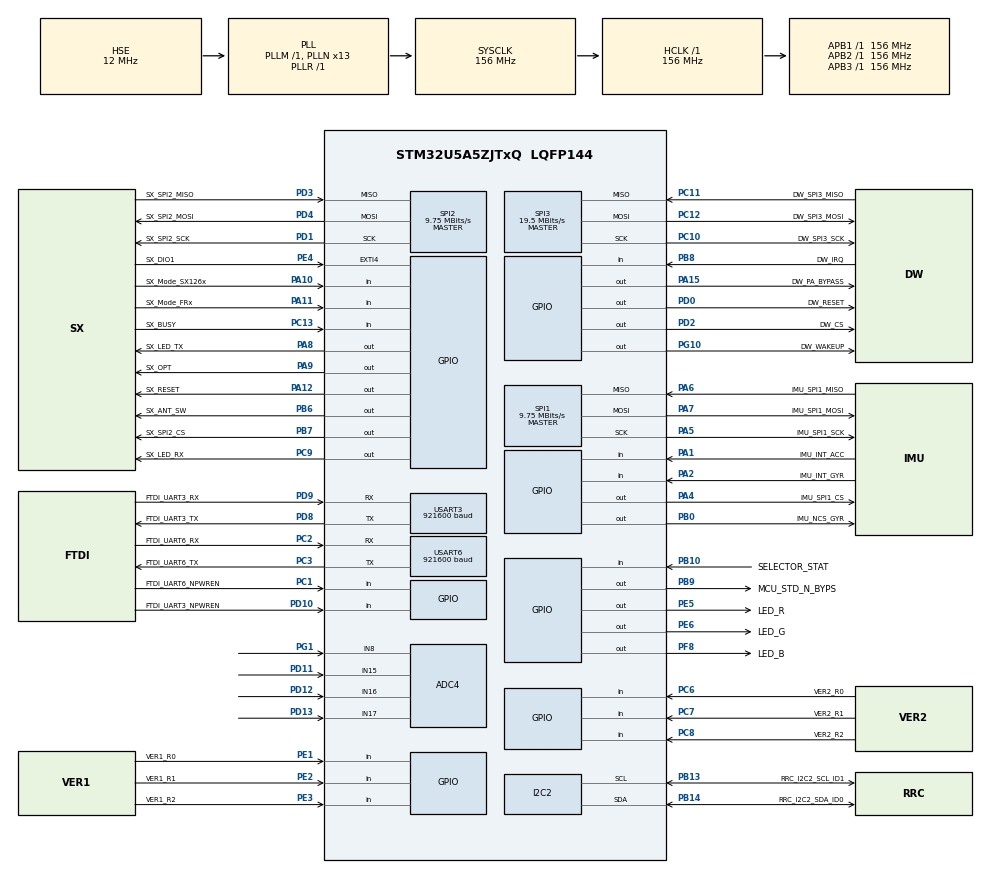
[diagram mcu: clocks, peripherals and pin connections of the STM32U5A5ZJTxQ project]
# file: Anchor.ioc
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ADC4.NbrOfConversion=1
ADC4.NbrOfConversionFlag=0
ADC4.SelectedChannel=ADC_CHANNEL_8|ADC_CHANNEL_15|ADC_CHANNEL_16|ADC_CHANNEL_17
ADC4.Sequencer=NOT_FULLY_CONFIGURABLE
CORTEX_M33_NS.AccessPermission-Cortex_Memory_Protection_Unit_Region0_Settings=MPU_REGION_ALL_RO
CORTEX_M33_NS.AllocateAttribute0=MPU_NO_ALLOCATE
CORTEX_M33_NS.AllocateAttribute1=MPU_RW_ALLOCATE
CORTEX_M33_NS.Attributes0=MPU_ATTRIBUTES_NUMBER0
CORTEX_M33_NS.Attributes1=MPU_ATTRIBUTES_NUMBER1
CORTEX_M33_NS.AttributesIndex-Cortex_Memory_Protection_Unit_Region1_Settings=MPU_ATTRIBUTES_NUMBER1
CORTEX_M33_NS.BaseAddress-Cortex_Memory_Protection_Unit_Region0_Settings=0x08200000
CORTEX_M33_NS.BaseAddress-Cortex_Memory_Protection_Unit_Region1_Settings=0x20000000
CORTEX_M33_NS.CacheableAttribute1=MPU_WRITE_BACK
CORTEX_M33_NS.Enable-Cortex_Memory_Protection_Unit_Region0_Settings=MPU_REGION_ENABLE
CORTEX_M33_NS.Enable-Cortex_Memory_Protection_Unit_Region1_Settings=MPU_REGION_ENABLE
CORTEX_M33_NS.LimitAddress-Cortex_Memory_Protection_Unit_Region0_Settings=0x083FDFFF
CORTEX_M33_NS.LimitAddress-Cortex_Memory_Protection_Unit_Region1_Settings=0x2026FFFF
CORTEX_M33_NS.MPU_Control=MPU_PRIVILEGED_DEFAULT
CORTEX_M33_NS.Memorytype1=MPU_CACHEABLE
CORTEX_M33_NS.Number-Cortex_Memory_Protection_Unit_Region1_Settings=MPU_REGION_NUMBER1
CORTEX_M33_NS.TransientAttribute0=MPU_NON_TRANSIENT
CORTEX_M33_NS.userName=CORTEX_M33
FLASH.B1_Bank=FLASH_BANK_2
FLASH.B1_endPage=254
FLASH.OB_Boot_Configuration_active_NS0=true
FLASH.OB_NSBOOTADD0_Address=0x08200000
GPDMA1.DESTINC_GPDMACH0=DMA_DINC_INCREMENTED
GPDMA1.DESTINC_GPDMACH1=DMA_DINC_FIXED
GPDMA1.DESTINC_GPDMACH2=DMA_DINC_INCREMENTED
GPDMA1.DIRECTION_GPDMACH1=DMA_MEMORY_TO_PERIPH
GPDMA1.DIRECTION_GPDMACH3=DMA_MEMORY_TO_PERIPH
GPDMA1.IPHANDLE_GPDMACH0-SIMPLEREQUEST_GPDMACH0=__NULL
GPDMA1.IPHANDLE_GPDMACH1-SIMPLEREQUEST_GPDMACH1=__NULL
GPDMA1.IPHANDLE_GPDMACH2-SIMPLEREQUEST_GPDMACH2=__NULL
GPDMA1.IPHANDLE_GPDMACH3-SIMPLEREQUEST_GPDMACH3=__NULL
GPDMA1.PRIORITY_GPDMACH0=DMA_LOW_PRIORITY_HIGH_WEIGHT
GPDMA1.PRIORITY_GPDMACH1=DMA_LOW_PRIORITY_HIGH_WEIGHT
GPDMA1.PRIORITY_GPDMACH2=DMA_LOW_PRIORITY_HIGH_WEIGHT
GPDMA1.PRIORITY_GPDMACH3=DMA_LOW_PRIORITY_HIGH_WEIGHT
GPDMA1.REQUEST_GPDMACH0=GPDMA1_REQUEST_USART6_RX
GPDMA1.REQUEST_GPDMACH1=GPDMA1_REQUEST_USART6_TX
GPDMA1.REQUEST_GPDMACH2=GPDMA1_REQUEST_USART3_RX
GPDMA1.REQUEST_GPDMACH3=GPDMA1_REQUEST_USART3_TX
GPDMA1.SRCINC_GPDMACH1=DMA_SINC_INCREMENTED
GPDMA1.SRCINC_GPDMACH3=DMA_SINC_INCREMENTED
GPDMA1.SRCINC_GPDMACH4=DMA_SINC_INCREMENTED
GTZC.MPCBB1_Area_Privilege_Size=0x000C0000
GTZC.MPCBB1_SecConfig_array=00000000\:00000000\:00000000\:00000000\:00000000\:00000000\:00000000\:00000000\:00000000\:00000000\:00000000\:00000000\:00000000\:00000000\:00000000\:00000000\:00000000\:00000000\:00000000\:00000000\:00000000\:00000000\:00000000\:00000000\:00000000\:00000000\:00000000\:00000000\:00000000\:00000000\:00000000\:00000000\:00000000\:00000000\:00000000\:00000000\:00000000\:00000000\:00000000\:00000000\:00000000\:00000000\:00000000\:00000000\:00000000\:00000000\:00000000\:00000000
GTZC.MPCBB2_Area_Privilege_Size=0x00010000
GTZC.MPCBB2_PrivConfig_array=FFFFFFFF\:FFFFFFFF\:FFFFFFFF\:FFFFFFFF\:00000000\:00000000\:00000000\:00000000\:00000000\:00000000\:00000000\:00000000\:00000000\:00000000\:00000000\:00000000\:00000000\:00000000\:00000000\:00000000\:00000000\:00000000\:00000000\:00000000\:00000000\:00000000\:00000000\:00000000\:00000000\:00000000\:00000000\:00000000\:00000000\:00000000\:00000000\:00000000\:00000000\:00000000\:00000000\:00000000\:00000000\:00000000\:00000000\:00000000\:00000000\:00000000\:00000000\:00000000\:00000000\:00000000\:00000000\:00000000
GTZC.MPCBB2_SecConfig_array=00000000\:00000000\:00000000\:00000000\:00000000\:00000000\:00000000\:00000000\:00000000\:00000000\:00000000\:00000000\:00000000\:00000000\:00000000\:00000000\:00000000\:00000000\:00000000\:00000000\:00000000\:00000000\:00000000\:00000000\:00000000\:00000000\:00000000\:00000000\:00000000\:00000000\:00000000\:00000000\:00000000\:00000000\:00000000\:00000000\:00000000\:00000000\:00000000\:00000000\:00000000\:00000000\:00000000\:00000000\:00000000\:00000000\:00000000\:00000000\:00000000\:00000000\:00000000\:00000000
GTZC.MPCBB3_Area_Privilege_Size=0x000D0000
GTZC.MPCBB3_SecConfig_array=00000000\:00000000\:00000000\:00000000\:00000000\:00000000\:00000000\:00000000\:00000000\:00000000\:00000000\:00000000\:00000000\:00000000\:00000000\:00000000\:00000000\:00000000\:00000000\:00000000\:00000000\:00000000\:00000000\:00000000\:00000000\:00000000\:00000000\:00000000\:00000000\:00000000\:00000000\:00000000\:00000000\:00000000\:00000000\:00000000\:00000000\:00000000\:00000000\:00000000\:00000000\:00000000\:00000000\:00000000\:00000000\:00000000\:00000000\:00000000\:00000000\:00000000\:00000000\:00000000
GTZC.MPCBB4_PrivConfig_array=00000000
GTZC.MPCBB4_SecConfig_array=00000000
GTZC.MPCBB5_Area_Privilege_Size=0x000D0000
GTZC.MPCBB5_SecConfig_array=00000000\:00000000\:00000000\:00000000\:00000000\:00000000\:00000000\:00000000\:00000000\:00000000\:00000000\:00000000\:00000000\:00000000\:00000000\:00000000\:00000000\:00000000\:00000000\:00000000\:00000000\:00000000\:00000000\:00000000\:00000000\:00000000\:00000000\:00000000\:00000000\:00000000\:00000000\:00000000\:00000000\:00000000\:00000000\:00000000\:00000000\:00000000\:00000000\:00000000\:00000000\:00000000\:00000000\:00000000\:00000000\:00000000\:00000000\:00000000\:00000000\:00000000\:00000000\:00000000
I2C2.Timing=0x40707EB4
Mcu.Family=STM32U5
Mcu.Name=STM32U5A5ZJTxQ
Mcu.Package=LQFP144
NUCLEO-U5A5ZJ-Q.BUTTON=0
NUCLEO-U5A5ZJ-Q.LD1=false
NUCLEO-U5A5ZJ-Q.LD2=false
NUCLEO-U5A5ZJ-Q.LD3=false
NUCLEO-U5A5ZJ-Q.VCP=false
NVIC.EXTI4_IRQn=true\:1\:0\:false\:true\:true\:1\:true\:true\:true
NVIC.GPDMA1_Channel0_IRQn=true\:5\:0\:true\:true\:true\:5\:false\:true\:true
NVIC.GPDMA1_Channel1_IRQn=true\:0\:0\:false\:false\:true\:false\:true\:true
NVIC.GPDMA1_Channel2_IRQn=true\:0\:0\:false\:false\:true\:false\:true\:true
NVIC.GPDMA1_Channel3_IRQn=true\:0\:0\:false\:false\:true\:false\:true\:true
NVIC.PriorityGroup=NVIC_PRIORITYGROUP_4
NVIC.TIM4_IRQn=true\:0\:0\:false\:true\:true\:2\:true\:true\:true
NVIC.USART3_IRQn=true\:0\:0\:false\:false\:true\:true\:true\:true
NVIC.USART6_IRQn=true\:0\:0\:false\:false\:true\:true\:true\:true
PA1.GPIO_Label=IMU_INT_ACC
PA1.Signal=GPIO_Input
PA10.GPIO_Label=SX_Mode_SX126x
PA10.Signal=GPIO_Input
PA11.GPIO_Label=SX_Mode_FRx
PA11.Signal=GPIO_Input
PA12.GPIO_Label=SX_RESET
PA12.Signal=GPIO_Output
PA13\ (JTMS/SWDIO).Mode=Serial_Wire
PA13\ (JTMS/SWDIO).Signal=DEBUG_JTMS-SWDIO
PA14\ (JTCK/SWCLK).Mode=Serial_Wire
PA14\ (JTCK/SWCLK).Signal=DEBUG_JTCK-SWCLK
PA15\ (JTDI).GPIO_Label=DW_PA_BYPASS
PA15\ (JTDI).Signal=GPIO_Output
PA2.GPIO_Label=IMU_INT_GYR
PA2.Signal=GPIO_Input
PA4.GPIO_Label=IMU_SPI1_CS
PA4.Signal=GPIO_Output
PA5.GPIO_Label=IMU_SPI1_SCK
PA5.Mode=Full_Duplex_Master
PA5.Signal=SPI1_SCK
PA6.GPIO_Label=IMU_SPI1_MISO
PA6.Mode=Full_Duplex_Master
PA6.Signal=SPI1_MISO
PA7.GPIO_Label=IMU_SPI1_MOSI
PA7.Mode=Full_Duplex_Master
PA7.Signal=SPI1_MOSI
PA8.GPIO_Label=SX_LED_TX
PA8.Signal=GPIO_Output
PA9.GPIO_Label=SX_OPT
PA9.Signal=GPIO_Output
PB0.GPIO_Label=IMU_NCS_GYR
PB0.Signal=GPIO_Output
PB10.GPIO_Label=SELECTOR_STAT
PB10.Signal=GPIO_Input
PB13.GPIO_Label=RRC_I2C2_SCL_ID1
PB13.GPIO_Pu=GPIO_PULLUP
PB13.Mode=I2C
PB13.Signal=I2C2_SCL
PB14.GPIO_Label=RRC_I2C2_SDA_ID0
PB14.GPIO_Pu=GPIO_PULLUP
PB14.Mode=I2C
PB14.Signal=I2C2_SDA
PB3\ (JTDO/TRACESWO).Signal=DEBUG_JTDO-SWO
PB6.GPIO_Label=SX_ANT_SW
PB6.Signal=GPIO_Output
PB7.GPIO_Label=SX_SPI2_CS
PB7.Signal=GPIO_Output
PB8.GPIO_Label=DW_IRQ
PB8.Signal=GPIO_Input
PB9.GPIO_Label=MCU_STD_N_BYPS
PB9.GPIO_PuPd=GPIO_PULLUP
PB9.PinState=GPIO_PIN_SET
PB9.Signal=GPIO_Output
PC1.GPIO_Label=FTDI_UART6_NPWREN
PC1.GPIO_PuPd=GPIO_NOPULL
PC1.Signal=GPIO_Input
PC10.GPIO_Label=DW_SPI3_SCK
PC10.Mode=Full_Duplex_Master
PC10.Signal=SPI3_SCK
PC11.GPIO_Label=DW_SPI3_MISO
PC11.Mode=Full_Duplex_Master
PC11.Signal=SPI3_MISO
PC12.GPIO_Label=DW_SPI3_MOSI
PC12.Mode=Full_Duplex_Master
PC12.Signal=SPI3_MOSI
PC13.GPIO_Label=SX_BUSY
PC13.Signal=GPIO_Input
PC14-OSC32_IN\ (PC14).Mode=LSE-External-Oscillator
PC14-OSC32_IN\ (PC14).Signal=RCC_OSC32_IN
PC15-OSC32_OUT\ (PC15).Mode=LSE-External-Oscillator
PC15-OSC32_OUT\ (PC15).Signal=RCC_OSC32_OUT
PC2.GPIO_Label=FTDI_UART6_RX
PC2.GPIO_PuPd=GPIO_PULLUP
PC2.Mode=Asynchronous
PC2.Signal=USART6_RX
PC3.GPIO_Label=FTDI_UART6_TX
PC3.GPIO_PuPd=GPIO_PULLUP
PC3.Mode=Asynchronous
PC3.Signal=USART6_TX
PC6.GPIO_Label=VER2_R0
PC6.GPIO_PuPd=GPIO_PULLUP
PC6.Signal=GPIO_Input
PC7.GPIO_Label=VER2_R1
PC7.GPIO_PuPd=GPIO_PULLUP
PC7.Signal=GPIO_Input
PC8.GPIO_Label=VER2_R2
PC8.GPIO_PuPd=GPIO_PULLUP
PC8.Signal=GPIO_Input
PC9.GPIO_Label=SX_LED_RX
PC9.Signal=GPIO_Output
PD0.GPIO_Label=DW_RESET
PD0.Signal=GPIO_Output
PD1.GPIO_Label=SX_SPI2_SCK
PD1.Mode=Full_Duplex_Master
PD1.Signal=SPI2_SCK
PD10.GPIO_Label=FTDI_UART3_NPWREN
PD10.GPIO_PuPd=GPIO_NOPULL
PD10.Signal=GPIO_Input
PD11.Mode=IN15
PD11.Signal=ADC4_IN15
PD12.Mode=IN16
PD12.Signal=ADC4_IN16
PD13.Mode=IN17
PD13.Signal=ADC4_IN17
PD2.GPIO_Label=DW_CS
PD2.Signal=GPIO_Output
PD3.GPIO_Label=SX_SPI2_MISO
PD3.Mode=Full_Duplex_Master
PD3.Signal=SPI2_MISO
PD4.GPIO_Label=SX_SPI2_MOSI
PD4.Mode=Full_Duplex_Master
PD4.Signal=SPI2_MOSI
PD8.GPIO_Label=FTDI_UART3_TX
PD8.GPIO_PuPd=GPIO_PULLUP
PD8.Mode=Asynchronous
PD8.Signal=USART3_TX
PD9.GPIO_Label=FTDI_UART3_RX
PD9.GPIO_PuPd=GPIO_PULLUP
PD9.Mode=Asynchronous
PD9.Signal=USART3_RX
PE1.GPIO_Label=VER1_R0
PE1.GPIO_PuPd=GPIO_PULLUP
PE1.Signal=GPIO_Input
PE2.GPIO_Label=VER1_R1
PE2.GPIO_PuPd=GPIO_PULLUP
PE2.Signal=GPIO_Input
PE3.GPIO_Label=VER1_R2
PE3.GPIO_PuPd=GPIO_PULLUP
PE3.Signal=GPIO_Input
PE4.GPIO_Label=SX_DIO1
PE4.Signal=GPXTI4
PE5.GPIO_Label=LED_R
PE5.GPIO_PuPd=GPIO_PULLUP
PE5.PinState=GPIO_PIN_SET
PE5.Signal=GPIO_Output
PE6.GPIO_Label=LED_G
PE6.GPIO_PuPd=GPIO_PULLUP
PE6.PinState=GPIO_PIN_SET
PE6.Signal=GPIO_Output
PF8.GPIO_Label=LED_B
PF8.GPIO_PuPd=GPIO_PULLUP
PF8.PinState=GPIO_PIN_SET
PF8.Signal=GPIO_Output
PG1.Mode=IN8
PG1.Signal=ADC4_IN8
PG10.GPIO_Label=DW_WAKEUP
PG10.Signal=GPIO_Output
PH0-OSC_IN\ (PH0).Mode=HSE-External-Oscillator
PH0-OSC_IN\ (PH0).Signal=RCC_OSC_IN
PH1-OSC_OUT\ (PH1).Mode=HSE-External-Oscillator
PH1-OSC_OUT\ (PH1).Signal=RCC_OSC_OUT
ProjectManager.HeapSize=0x200
ProjectManager.StackSize=0x400
ProjectManager.TargetToolchain=STM32CubeIDE
RCC.ADCFreq_Value=16000000
RCC.AHBFreq_Value=156000000
RCC.APB1Freq_Value=156000000
RCC.APB1TimFreq_Value=156000000
RCC.APB2Freq_Value=156000000
RCC.APB2TimFreq_Value=156000000
RCC.APB3Freq_Value=156000000
RCC.CortexFreq_Value=156000000
RCC.DACCLockSelectionVirtual=RCC_DAC1CLKSOURCE_LSI
RCC.EPOD_VALUE=12000000
RCC.HCLKFreq_Value=156000000
RCC.HSE_VALUE=12000000
RCC.HSI48_VALUE=48000000
RCC.HSI_VALUE=16000000
RCC.LSIDIV=RCC_LSI_DIV128
RCC.LSIDIV_VALUE=250
RCC.MSIClockRange=RCC_MSIRANGE_0
RCC.MSI_VALUE=48000000
RCC.PLL1P=8
RCC.PLL1R=1
RCC.PLL2FRACN=0
RCC.PLL3FRACN=0
RCC.PLLFRACN=0
RCC.PLLN=13
RCC.PLLSourceVirtual=RCC_PLLSOURCE_HSE
RCC.SPI1CLockSelection=RCC_SPI1CLKSOURCE_PCLK2
RCC.SPI2CLockSelection=RCC_SPI2CLKSOURCE_PCLK1
RCC.SPI3CLockSelection=RCC_SPI3CLKSOURCE_PCLK3
RCC.SYSCLKFreq_VALUE=156000000
RCC.SYSCLKSource=RCC_SYSCLKSOURCE_PLLCLK
RCC.VCOOutputFreq_Value=156000000
RTC.RTC_NONSECURE_FEATURE_ALRA=__NULL
RTC.backupRegisterStartZone3_g=1
SPI1.BaudRatePrescaler=SPI_BAUDRATEPRESCALER_16
SPI1.CalculateBaudRate=9.75 MBits/s
SPI1.DataSize=SPI_DATASIZE_8BIT
SPI1.Direction=SPI_DIRECTION_2LINES
SPI1.Mode=SPI_MODE_MASTER
SPI1.VirtualType=VM_MASTER
SPI2.BaudRatePrescaler=SPI_BAUDRATEPRESCALER_16
SPI2.CLKPolarity=SPI_POLARITY_LOW
SPI2.CalculateBaudRate=9.75 MBits/s
SPI2.DataSize=SPI_DATASIZE_8BIT
SPI2.Direction=SPI_DIRECTION_2LINES
SPI2.Mode=SPI_MODE_MASTER
SPI2.VirtualType=VM_MASTER
SPI3.BaudRatePrescaler=SPI_BAUDRATEPRESCALER_8
SPI3.CalculateBaudRate=19.5 MBits/s
SPI3.DataSize=SPI_DATASIZE_8BIT
SPI3.Direction=SPI_DIRECTION_2LINES
SPI3.MasterReceiverAutoSusp=SPI_MASTER_RX_AUTOSUSP_ENABLE
SPI3.Mode=SPI_MODE_MASTER
SPI3.VirtualType=VM_MASTER
TIM4.AutoReloadPreload=TIM_AUTORELOAD_PRELOAD_ENABLE
TIM4.PeriodNoDither=999
TIM4.Prescaler=155
USART3.BaudRate=921600
USART3.VirtualMode-Asynchronous=VM_ASYNC
USART6.BaudRate=921600
USART6.VirtualMode-Asynchronous=VM_ASYNC
VP_CRC_VS_CRC.Mode=CRC_Activate
VP_FLASH_SIG_Activate_FlashIP.Mode=Activate_FlashIP
VP_GPDMA1_VS_GPDMACH0.Mode=SIMPLEREQUEST_GPDMACH0
VP_GPDMA1_VS_GPDMACH1.Mode=SIMPLEREQUEST_GPDMACH1
VP_GPDMA1_VS_GPDMACH2.Mode=SIMPLEREQUEST_GPDMACH2
VP_GPDMA1_VS_GPDMACH3.Mode=SIMPLEREQUEST_GPDMACH3
VP_GPDMA1_VS_GPDMACH4.Mode=SIMPLEREQUEST_GPDMACH4
VP_GTZC_VS_GTZC_Enable.Mode=GTZC_Enable
VP_ICACHE_VS_ICACHE.Mode=DefaultMode
VP_LPBAMQUEUE_VS_QUEUE.Mode=QUEUEMODE
VP_LPBAM_VS_SIG1.Mode=SmartRun
VP_LPBAM_VS_SIG4.Mode=LPDMA1
VP_MEMORYMAP_VS_MEMORYMAP.Mode=CurAppReg
VP_NUCLEO-U5A5ZJ-Q_VS_BSP_COMMON.Mode=COMMON
VP_PWR_VS_SECSignals.Mode=Security/Privilege
VP_PWR_Vdda.Mode=isolationVdda
VP_RTC_VS_RTC_Activate.Mode=RTC_Enabled
VP_TIM2_VS_ClockSourceINT.Mode=Internal
VP_TIM4_VS_ClockSourceINT.Mode=Internal
board=NUCLEO-U5A5ZJ-Q

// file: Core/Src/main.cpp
/* USER CODE BEGIN Header */
/**
 ******************************************************************************
 * @file           : main.c
 * @brief          : Main program body
 ******************************************************************************
 * @attention
 *
 * Copyright (c) 2025 STMicroelectronics.
 * All rights reserved.
 *
 * This software is licensed under terms that can be found in the LICENSE file
 * in the root directory of this software component.
 * If no LICENSE file comes with this software, it is provided AS-IS.
 *
 ******************************************************************************
 */
/* USER CODE END Header */
#include "main.h"
#include "adc.h"
#include "crc.h"
#include "flash.h"
#include "gpdma.h"
#include "i2c.h"
#include "icache.h"
#include "memorymap.h"
#include "rtc.h"
#include "spi.h"
#include "tim.h"
#include "usart.h"
#include "gpio.h"

/* USER CODE BEGIN Includes */
#include "dw1000.h"
#include "../Lora/Inc/Lora.hpp"
#include "uart_communication.h"
#include "Led.h"
#include "flash_handler.h"
#include "burn_mode.h"
#include "fota.h"
#include <stdlib.h>
/* USER CODE END Includes */

/* USER CODE BEGIN PV */
uint8_t cable_id = 0;
uint8_t HW_Version;
static uint8_t HW_Strap;	// what the strap pins read (#21)

uint16_t reset_counter = 0;
/* USER CODE END PV */

void SystemClock_Config(void);
static void MPU_Config(void);
static void MX_NVIC_Init(void);

/* USER CODE BEGIN 0 */

void SetAnchor_self_id(){
//	 lora_rxInfo.self_id = ((uint16_t)(((lora_rxInfo.mine_pc_id << 2) & 0xfc) | lora_rxInfo.anchor_id) << 8) | ((uint8_t)((lora_rxInfo.mine_pc_id >> (8+2)) & 0xff));
	lora_rxInfo.self_id = (PC_ID << 2) | lora_rxInfo.anchor_id;
}
void SetAnchor_cable_id(){
	// Anchor id range: 0 ~ 3
	 cable_id = ((HAL_GPIO_ReadPin(RRC_I2C2_SCL_ID1_GPIO_Port, RRC_I2C2_SCL_ID1_Pin)<<1) | HAL_GPIO_ReadPin(RRC_I2C2_SDA_ID0_GPIO_Port, RRC_I2C2_SDA_ID0_Pin));
	 dwmInfo.anchor_id = cable_id;
	 lora_rxInfo.anchor_id = cable_id;
	 SetAnchor_self_id();
}

int gDebug = false;
uint8_t BackOFF_CTRL = true; //BackOFF_CTRL = true -  enables dwScanMode, BackOFF_CTRL = false  - disables dwScanMode

LoraRxInfo_t lora_rxInfo = {.no_lora = true, .lora_msg_index = 0, .buffer_length = 0,
		.rssi = 0,		// average rssi
		.snr = 0,
		.tag_id =0,
		.tag_id_msg_valid = 0,
		.new_data = LR_NO_VALID_DATA, .TxCounter = 0, .TagStatusUwb = 0,
		.RxCounter = 0,
		.anchor_id = 0,
		.mine_pc_id = PC_ID,
		.self_id = 0};

DwmInfo_t dwmInfo = { .anchor_id = 0, .no_uwb = true,  .tag_dest = 0, .tof =
		0, .distance = 0, .dw_ready = DW_NO_VALID_DATA, .wrong_ID=false, .tag_no_lora = 0,
		.RxToCounter = 0, .detec_pc_id = true, .mine_pc_id = PC_ID,
		.backoff_timer = 0, .TxCounter = 0, .RxCounter = 0,
		.uart_income = false, .tag_imposter = false };

extern RadioFlags_t radioFlags;
extern Fault_Counter fault_counter;

status_bits errors = {0};
enum tag_wakeup wakeup_state;

void printStt(void) {
//	uint8_t buff[100] = { 0 };
//	uint8_t len = snprintf((char*) buff, sizeof(buff),
//			"A%d:%s:%s:Dw%d:Lr%d\n\r", dwmInfo.anchor_id, VERSION, HW_VER,
//			dwmInfo.status, lora_rxInfo.status);
//
//	HAL_UART_Transmit(&huart1, buff, len, 100);
}

void print(const char *s) {
	//HAL_UART_Transmit(&huart1, (uint8_t*) s, strlen(s), 100);
}

void printP(const char *s, const char *p) {
//	uint8_t buff[100] = { 0 };
//	uint8_t len = snprintf((char*) buff, sizeof(buff), s, p);
//
//	HAL_UART_Transmit(&huart1, buff, len, 100);
}
// Self-id flash page: slot 0 PC_ID, 1 TX antenna delay, 2 RX antenna delay, 7 reset counter.
// Rewrites the page with slots 1-2 replaced; returns 0 on success.
static uint8_t Save_Antenna_Delays(uint16_t tx, uint16_t rx) {
	uint16_t page[8];
	memcpy(page, (const void*)FLASH_SELF_ID_ADDRESS, sizeof(page));
	page[1] = tx;
	page[2] = rx;
	if (Flash_Erase(FLASH_SELF_ID_USER_BANK, FLASH_SELF_ID_PAGE) != HAL_OK)
		return 1;
	return Flash_Write(FLASH_SELF_ID_ADDRESS, (uint64_t*)page, 1) != HAL_OK;
}

// UART_OPCODE_ANT_DELAY: {tx u16, rx u16} sets (0/0xFFFF = back to the default), empty = read.
// Reply {status, tx u16, rx u16} with the values in flash (0xFFFF = default in use).
static void Antenna_Delay_Command(S_UART_MESSAGE *msg, S_UART_MESSAGE *reply) {
	static uint8_t r[8];
	uint8_t status = 0;
	if (msg->header.length >= sizeof(S_HEADER) + 4 + 1) {
		uint16_t tx, rx;
		memcpy(&tx, &msg->buff[0], 2);
		memcpy(&rx, &msg->buff[2], 2);
		status = Save_Antenna_Delays(tx, rx);
		dwApplyAntennaDelays();
	}
	const uint16_t *page = (const uint16_t*)FLASH_SELF_ID_ADDRESS;
	r[0] = msg->header.opcode;
	r[1] = sizeof(r);
	r[2] = status;
	memcpy(&r[3], &page[1], 2);
	memcpy(&r[5], &page[2], 2);
	r[7] = checksum(r, sizeof(r));
	UART_SendMessage(r, sizeof(r));
}

// UART_OPCODE_READ_CIR_WINDOW: the CIR window latched with the last valid range (same exchange as
// DIAGNOSTIC_STATUS). Reply {fp_index u16 (Q10.6), start u16, n u8, n x (i16 re, i16 im)}; n = 0 before
// the first range.
static void Cir_Window_Command(S_UART_MESSAGE *msg) {
	static uint8_t r[7 + 4 * CIR_WINDOW_N + 1];
	uint8_t n = dwmInfo.cir_n;
	uint8_t len = 7 + 4 * n + 1;
	r[0] = msg->header.opcode;
	r[1] = len;
	memcpy(&r[2], &dwmInfo.cir_fp_index, 2);
	memcpy(&r[4], &dwmInfo.cir_start, 2);
	r[6] = n;
	memcpy(&r[7], &dwmInfo.cir_buf[1], 4 * n);	// skip the accumulator's dummy octet
	r[len - 1] = checksum(r, len);
	UART_SendMessage(r, len);
}

// UART_OPCODE_READ_IMU: empty request. Reply {status (bit0 no IMU, bit1 SPI error; data zero when set),
// tick_ms u32, acc xyz i16, gyr xyz i16 (raw counts), temp i16 (deg C x 8), acc_range u8, gyr_range u8}.
static void Imu_Command(S_UART_MESSAGE *msg) {
	static uint8_t r[24];
	BMI088_Raw s = {0};
	uint8_t status = bmi.no_IMU ? 0x01 : 0x00;
	uint32_t tick = HAL_GetTick();
	if (!status && !BMI088_ReadRaw(&bmi, &s)) {
		memset(&s, 0, sizeof(s));
		status = 0x02;
	}
	r[0] = msg->header.opcode;
	r[1] = sizeof(r);
	r[2] = status;
	memcpy(&r[3], &tick, 4);
	memcpy(&r[7], s.acc, 6);
	memcpy(&r[13], s.gyr, 6);
	memcpy(&r[19], &s.temp_c8, 2);
	r[21] = BMI_ACC_RANGE_3G;
	r[22] = BMI_GYR_RANGE_1000DPS;
	r[23] = checksum(r, sizeof(r));
	UART_SendMessage(r, sizeof(r));
}

// UART_OPCODE_SET_LINK_FEATURES (doc 9I): LinkCfg_t bytes {features, k_max, lora_target_dbm,
// lora_band_db, uwb_target_dbm, uwb_band_db, profile_max, profile_override, step_interval_ds,
// lora_owner, uwb_level_pin}; a shorter payload sets the leading fields, empty = read. Reply: the configuration.
static void Link_Features_Command(S_UART_MESSAGE *msg) {
	static uint8_t r[2 + sizeof(LinkCfg_t) + 1];
	if (msg->header.length > sizeof(S_HEADER) + 1)
		Link_SetConfig(msg->buff, msg->header.length - sizeof(S_HEADER) - 1);
	r[0] = msg->header.opcode;
	r[1] = sizeof(r);
	memcpy(&r[2], &link_cfg, sizeof(LinkCfg_t));
	r[sizeof(r) - 1] = checksum(r, sizeof(r));
	UART_SendMessage(r, sizeof(r));
}

// UART_OPCODE_XTAL_TRIM: {trim u8} 0..31 saves and applies it, 0xFF clears it (back to the chip's OTP
// trim, or mid-range), empty = read. Self-id page slot 3. Reply {status, saved (0xFF = none), active}.
static void Xtal_Trim_Command(S_UART_MESSAGE *msg) {
	static uint8_t r[6];
	uint8_t status = 0;
	if (msg->header.length >= sizeof(S_HEADER) + 1 + 1) {
		uint8_t t = msg->buff[0];
		if (t <= FS_XTALT_MASK || t == 0xFF) {
			uint16_t page[8];
			memcpy(page, (const void*)FLASH_SELF_ID_ADDRESS, sizeof(page));
			page[3] = (t == 0xFF) ? 0xFFFF : t;
			if (Flash_Erase(FLASH_SELF_ID_USER_BANK, FLASH_SELF_ID_PAGE) != HAL_OK
					|| Flash_Write(FLASH_SELF_ID_ADDRESS, (uint64_t*)page, 1) != HAL_OK)
				status = 1;
			if (t == 0xFF) {	// back to what the driver loads at init
				dwmInit();
				dwConfig(&config);
			} else {
				dwt_setxtaltrim(t);
			}
		} else {
			status = 2;		// out of range
		}
	}
	uint16_t saved = ((const uint16_t*)FLASH_SELF_ID_ADDRESS)[3];
	r[0] = msg->header.opcode;
	r[1] = sizeof(r);
	r[2] = status;
	r[3] = (saved <= FS_XTALT_MASK) ? (uint8_t)saved : 0xFF;
	r[4] = dwt_read8bitoffsetreg(FS_CTRL_ID, FS_XTALT_OFFSET) & FS_XTALT_MASK;
	r[5] = checksum(r, sizeof(r));
	UART_SendMessage(r, sizeof(r));
}

// UART_OPCODE_HW_REV (#21): {rev u8} 0..HW_REV_MAX stores the board revision (self-id page slot 4),
// 0xFF clears it (the strap pins decide again), empty = read. Reply {status, active, stored
// (0xFF = none), straps}. A change reboots the board once the reply is out: UART, LEDs and radio
// drive are set up for the revision at power-up.
static void Hw_Rev_Command(S_UART_MESSAGE *msg) {
	static uint8_t r[7];
	uint8_t status = 0;
	uint16_t stored = ((const uint16_t*)FLASH_SELF_ID_ADDRESS)[SELF_ID_SLOT_HW];
	bool changed = false;
	if (msg->header.length >= sizeof(S_HEADER) + 1 + 1) {
		uint8_t v = msg->buff[0];
		uint16_t want = (v == 0xFF) ? 0xFFFF : v;
		if (v > HW_REV_MAX && v != 0xFF) {
			status = 2;		// out of range
		} else if (want != stored) {
			uint16_t page[8];
			memcpy(page, (const void*)FLASH_SELF_ID_ADDRESS, sizeof(page));
			page[SELF_ID_SLOT_HW] = want;
			if (Flash_Erase(FLASH_SELF_ID_USER_BANK, FLASH_SELF_ID_PAGE) != HAL_OK
					|| Flash_Write(FLASH_SELF_ID_ADDRESS, (uint64_t*)page, 1) != HAL_OK) {
				status = 1;
			} else {
				stored = want;
				changed = true;
			}
		}
	}
	r[0] = msg->header.opcode;
	r[1] = sizeof(r);
	r[2] = status;
	r[3] = HW_Version;
	r[4] = (stored <= HW_REV_MAX) ? (uint8_t)stored : 0xFF;
	r[5] = HW_Strap;
	r[6] = checksum(r, sizeof(r));
	UART_SendMessage(r, sizeof(r));
	if (changed) {
		HAL_Delay(50);		// the reply goes out by DMA
		HAL_NVIC_SystemReset();
	}
}

// UART_OPCODE_TAG_CONFIG: {tag_id u16, item u8, value u16} queues one configuration item for the tag
// (LoRa first, extended UWB poll v2 as backup); empty = status. Reply {state, item, value u16,
// readback u16, flags, via, tag_listen_n, lora_tries}. state: 0 idle, 1 pending, 2 done, 3 failed.
static void Tag_Config_Command(S_UART_MESSAGE *msg) {
	static uint8_t r[2 + 10 + 1];
	if (msg->header.length >= sizeof(S_HEADER) + 5 + 1) {
		uint16_t tag, value;
		memcpy(&tag, &msg->buff[0], 2);
		memcpy(&value, &msg->buff[3], 2);
		if (link_st.prof_phase != PROF_P_PREP && link_st.prof_phase != PROF_P_COMMIT)	// the profile switch owns the item slot
			Link_ItemQueue(tag, msg->buff[2], value);
	}
	r[0] = msg->header.opcode;
	r[1] = sizeof(r);
	r[2] = link_item.state;
	r[3] = link_item.item;
	memcpy(&r[4], &link_item.value, 2);
	memcpy(&r[6], &link_item.readback, 2);
	r[8] = link_item.flags;
	r[9] = link_item.via;
	r[10] = link_item.tag_listen_n;
	r[11] = link_item.lora_tries;
	r[sizeof(r) - 1] = checksum(r, sizeof(r));
	UART_SendMessage(r, sizeof(r));
}

// UART_OPCODE_SET_PROFILE (#7): {seq u8, profile u8} - the host sends the same to every anchor of the
// station; a repeated seq is ignored; empty = status. Reply {ok, seq, target, cur, phase, reason,
// tag echo, tag link version, radio profile now}.
static void Set_Profile_Command(S_UART_MESSAGE *msg) {
	static uint8_t r[2 + 9 + 1];
	uint8_t ok = 1;
	if (msg->header.length >= sizeof(S_HEADER) + 2 + 1)
		ok = Link_ProfileRequest(msg->buff[0], msg->buff[1]);
	r[0] = msg->header.opcode;
	r[1] = sizeof(r);
	r[2] = ok;
	r[3] = link_st.prof_seq;
	r[4] = link_st.prof_target;
	r[5] = link_st.prof_cur;
	r[6] = link_st.prof_phase;
	r[7] = link_st.prof_reason;
	r[8] = link_st.ext ? link_st.echo_profile : 0xFF;
	r[9] = link_st.tag_ver;
	r[10] = link_st.prof_rx;
	r[sizeof(r) - 1] = checksum(r, sizeof(r));
	UART_SendMessage(r, sizeof(r));
}

/* USER CODE END 0 */

int main(void)
{

  /* USER CODE BEGIN 1 */
	SCB->VTOR = 0x08200000;
	__enable_irq();

  /* USER CODE END 1 */

  /* MCU Configuration--------------------------------------------------------*/

  /* MPU Configuration--------------------------------------------------------*/
  MPU_Config();

  /* Reset of all peripherals, Initializes the Flash interface and the Systick. */
  HAL_Init();

  /* Configure the system clock */
  SystemClock_Config();

  /* Initialize all configured peripherals */
  MX_GPDMA1_Init();
  MX_GPIO_Init();
  MX_SPI1_Init();
  MX_ICACHE_Init();
  MX_SPI3_Init();
  MX_TIM2_Init();
  MX_TIM4_Init();
  MX_SPI2_Init();
  MX_RTC_Init();
  MX_USART6_UART_Init();
  MX_USART3_UART_Init();
  MX_ADC4_Init();
  MX_CRC_Init();
  MX_I2C2_Init();
  MX_FLASH_Init();

  /* Initialize interrupts */
  MX_NVIC_Init();
  /* USER CODE BEGIN 2 */
  CRC_File_Handler(); //create header file flash if it doesnt exist
	main_init(); //Init struct

	print("----------------------\r\n");
	printP(" Anchor Version: %s \r\n", VERSION);
	print("----------------------\r\n");

	HAL_TIM_Base_Start_IT(&htim4);

  /* USER CODE END 2 */

  /* Infinite loop */
  /* USER CODE BEGIN WHILE */
	Fault_BackupRegister_read(&fault_counter); //for debug operation
//	wakeup_watchdog(&fault_counter);

	BMI088_Init(&bmi,&hspi1,IMU_SPI1_CS_GPIO_Port,IMU_SPI1_CS_Pin,IMU_NCS_GYR_GPIO_Port, IMU_NCS_GYR_Pin);

  	if (!dwmInit()) { // init failed
  		print("Init Failed\r\n");
  	} else {
  		print("Init DW1000 Succeed\r\n");
  		dwConfig(&config);
  	}

  	Lora_init(&lora_rxInfo, &dwmInfo);
  	if (lora_rxInfo.no_lora == 0) {
  		print("LORA Init Succeed\r\n");
  		Lora_Operation_RX();
  	} else {
  		print("LORA Init Failed\r\n");
  	}
  	errors.bits.no_LoRa  = lora_rxInfo.no_lora;
  	errors.bits.no_UWB = dwmInfo.no_uwb;
	dwmStatus();

	S_UART_MESSAGE msg = { 0 };
	S_UART_MESSAGE reply = { 0 };
	while (1) {
		refresh_WD();
		fota_poll();
		(void)Backoff_Left();	// clears an expired deadline every pass (wrap safety)
		if (!fota_busy()) {
			dwRecover();
			dwRadioWatch();
		}

		uint8_t RxLen = UART_GetMessage((uint8_t*) &msg, sizeof(msg));
		if ((RxLen != RX_EMPTY) && Validate_UART(&msg, RxLen)) {
			switch (msg.header.opcode) {
			case UART_OPCODE_BURN: {
				UART_Reply_Burn_msg(&msg,&reply);
				break;
			}

			case UART_OPCODE_SEARCH_TWR: {
				if(dwmInfo.tag_imposter){
					dwmInfo.tag_imposter = false;
				}

				lora_rxInfo.anchor_id = dwmInfo.anchor_id;
				dwmInfo.tag_dest = lora_rxInfo.tag_id = msg.op_twr_req.tag_id & 0x7FFF;

				uint8_t only_lora = (msg.op_twr_req.tag_id & 0x8000? 1:0);

				// optional third payload byte: k_max for this round (9F), 0 = anchor decides
				uint8_t k_req = (msg.header.length >= sizeof(S_HEADER) + 3 + 1) ? msg.buff[2] : 0;
				if ((Backoff_Left() == 0) && (!dwmInfo.no_uwb) && !only_lora) {
					dwmInfo.backoff_timer = 0;
					dwRangeRound(k_req);
				}
				if (!lora_rxInfo.no_lora && (lora_rxInfo.freq != RF_FREQ_TAG(lora_rxInfo.tag_id))) {
					Update_Lora_Config_Anchor(&lora_rxInfo, &dwmInfo);
				}
				UART_Reply_Search_Twr(&msg, &reply);
				break;
			}

			case UART_OPCODE_SET_ID: //PC id
				{
					const uint16_t *page = (const uint16_t*)FLASH_SELF_ID_ADDRESS;	// keep the antenna delays
					uint16_t new_id[8] = {msg.set_id_req.new_id,page[1],page[2],page[3],page[SELF_ID_SLOT_HW],0xFFFF,0xFFFF,reset_counter};	// keep delays, crystal trim and board revision
					uint8_t error;
					error = Flash_Erase(FLASH_SELF_ID_USER_BANK, FLASH_SELF_ID_PAGE) != HAL_OK;
					if (error){
						UART_Reply_Set_Self_ID(&msg, &reply, error);
						break;
					}
					error = Flash_Write(FLASH_SELF_ID_ADDRESS, (uint64_t*)&new_id, 1) != HAL_OK;
					if(!error){ // updated self_id if writing to memory was successful
						 SetAnchor_self_id();
						 dwmInfo.mine_pc_id = PC_ID;	// UWB frames and backoff judging use the new id too
						 dwSetFrameIds();
					}
					UART_Reply_Set_Self_ID(&msg, &reply, error);
					break;
				}
				case UART_OPCODE_BACKOFF_CTRL: // used for diagnostics
				{
					if(msg.op_backoff_ctrl_req.BackOFF_CTRL == 0){
						BackOFF_CTRL = false;
						dwmInfo.backoff_timer = 0;	// release an armed backoff: poll on the next SEARCH_TWR
					}
					else if (msg.op_backoff_ctrl_req.BackOFF_CTRL == 1){
						BackOFF_CTRL = true;
					}
					// optional window: {ctrl, top, min}; backoff = random() % top + min. The bytes are in the old
					// 2.05 ms ticks (anc3.1.5), so the host's settings keep their real timing on the 1 ms tick.
					if (msg.header.length >= sizeof(S_HEADER) + 3 + 1 && msg.buff[1] != 0) {
						backoff_top_ms = OLD_TICKS_TO_MS(msg.buff[1]);
						backoff_min_ms = OLD_TICKS_TO_MS(msg.buff[2]);
					}

					UART_Reply_BackOFF_CTRL(&msg, &reply);
					break;
				}
#ifdef DEBUG_RESET_COUNTER_IN_FLASH
			case UART_OPCODE_RESET_RESET_COUNTER:
				{
					reset_counter = 0;
					const uint16_t *page = (const uint16_t*)FLASH_SELF_ID_ADDRESS;	// keep antenna delays (slots 1-2)
					uint16_t new_id[8] = {dwmInfo.mine_pc_id,page[1],page[2],page[3],page[4],page[5],page[6],reset_counter};
					uint8_t error;
					error = Flash_Erase(FLASH_SELF_ID_USER_BANK, FLASH_SELF_ID_PAGE) != HAL_OK;
					if (error){
						UART_Reply_Reset_Counter(&msg, &reply, error);
						break;
					}
					error = Flash_Write(FLASH_SELF_ID_ADDRESS, (uint64_t*)&new_id, 1) != HAL_OK;

					UART_Reply_Reset_Counter(&msg, &reply, error);
					break;
				}
			case UART_OPCODE_READ_RESET_COUNTER:
				{
					UART_Reply_Reset_Counter(&msg, &reply, 0);
					break;
				}
#endif
			case UART_OPCODE_WAKEUP_MODE: {

				radioFlags.wakeup_seq = true;
				dwmInfo.tag_dest = lora_rxInfo.tag_id = msg.op_twr_req.tag_id & 0x7FFF;

			  	if ((Backoff_Left() == 0) && (!dwmInfo.no_uwb)) {
			  		dwmInfo.backoff_timer = 0;
			  		dwRange();
			  	}
			  	UART_Reply_Wake_up(&msg, &reply);
			  	break;
			  }

  			case UART_OPCODE_STATUS: {
  				dwmStatus();
  				Lora_Status();
  				UART_Reply_Status(&msg, &reply);
  				break;
  			}

  			case UART_OPCODE_DIAGNOSTIC_STATUS: {
  				if(msg.op_sttd_req.UWB_enable_EVC == 1){
  					/*enable counter EVC ( error counters)
  			  		* Once its enabled it *CAN'T be* disabled.
  			  		*/
  			  		dwt_configeventcounters(true);
  			  		//Enable Accumulator reading
//  			  		dwt_configenable_user_accumem_read(true);
  				}else if(msg.op_sttd_req.UWB_enable_EVC == 0xff){
  			  		/*only way to reset EVC is to reset
  			  		 * it and to use dw again must reset STM
  			  		 */
  			  		UART_Reply_Status_UWB_Diag(&msg, &reply);
//  					dwt_configenable_user_accumem_read(false);

  			  		dwt_softreset();
  			  	  	HAL_NVIC_SystemReset();
  			  	}

  			  	dwmDiagStatus();
  			  	UART_Reply_Status_UWB_Diag(&msg, &reply);
  			  	break;
  			}
  			case UART_OPCODE_ANT_DELAY: {
  				Antenna_Delay_Command(&msg, &reply);
  				break;
  			}
  			case UART_OPCODE_XTAL_TRIM: {
  				Xtal_Trim_Command(&msg);
  				break;
  			}
  			case UART_OPCODE_HW_REV: {
  				Hw_Rev_Command(&msg);
  				break;
  			}
  			case UART_OPCODE_TAG_CONFIG: {
  				Tag_Config_Command(&msg);
  				break;
  			}
  			case UART_OPCODE_SET_PROFILE: {
  				Set_Profile_Command(&msg);
  				break;
  			}
  			case UART_OPCODE_READ_CIR_WINDOW: {
  				Cir_Window_Command(&msg);
  				break;
  			}
  			case UART_OPCODE_SET_LINK_FEATURES: {
  				Link_Features_Command(&msg);
  				break;
  			}
  			case UART_OPCODE_READ_IMU: {
  				Imu_Command(&msg);
  				break;
  			}
  			case UART_OPCODE_LOOPBACK: {
  				UART_SendMessage(&msg, msg.header.length);
  				break;
  			}

  			case UART_OPCODE_RESET: {
  				UART_Reply_Status(&msg, &reply);
  				HAL_Delay(1000);
  				HAL_NVIC_SystemReset();
  				break;
  			}
  			case UART_OPCODE_READ_UWB_RAW:{
  			  	dwmStatus();
  				UART_Reply_UWB_Raw(&msg, &reply);
  				break;
  			}
  			case UART_OPCODE_WRITE_UWB_RAW:{
  				dwt_write8bitoffsetreg(msg.op_write_uwb_raw_req.reg_id, msg.op_write_uwb_raw_req.reg_offset,msg.op_write_uwb_raw_req.buffer[0]);
  				if (msg.op_write_uwb_raw_req.reg_id == LDE_IF_ID && msg.op_write_uwb_raw_req.reg_offset == LDE_CFG1_OFFSET)
  					lde_cfg1 = msg.op_write_uwb_raw_req.buffer[0];	// survives dwConfig() re-runs
  				dwNoteConfig();	// a deliberate channel / PAC change is not a fault; profile fields still are
  				UART_Reply_Write_UWB_Raw(&msg, &reply);
  				break;
  			}

  			case UART_OPCODE_BIT_CONTROL:{
  				dwmInfo.tag_imposter = msg.op_bit_req.tag_imposter;
  				if (dwmInfo.tag_imposter)
  					Link_ProfileGround(PROF_R_HOST);	// an imposter answers on profile 0
  				if (!lora_rxInfo.no_lora && (lora_rxInfo.freq != RF_FREQ_TAG(lora_rxInfo.self_id))) {
  					Update_Lora_Config_Imposter(&lora_rxInfo);
  				}
  				UART_Reply_BIT_Control(&msg, &reply);
  				break;
  			}

			case UART_OPCODE_UPDATE_FW:
			{
				UART_Reply_UPDATE_FW(&msg,&reply);
				write_bkup_sram();
				//*(uint32_t*)(SRAM_BKUP_REGISTER+4) = 0;
				uint32_t read_reg = *(uint32_t*)SRAM_BKUP_REGISTER;
				HAL_Delay(50); //give uart time to finish its reply
				if (Update_FW_Boot_Flag()){
					Jump_To_Boot();
				}
			}

  			default:
  				if (!fota_uart_command((uint8_t*) &msg, RxLen))
  					UART_Reply_error(&msg, &reply);
  				break;
  			}
  		}
  		else if(!dwmInfo.no_uwb && !fota_busy()){
  			if(dwmInfo.tag_imposter){
  				dwTagMode();
  			}else{
  				if(BackOFF_CTRL == true){
  					dwScanMode();
  				}
  			}
  		}
#ifndef TIMING_TESTS_USING_LED_GPIO
  		Led_Maintanence();
#endif // TIMING_TESTS_USING_LED_GPIO

  		if (gDebug && !lora_rxInfo.no_lora)
  		{
  			Lora_Debug();
  		}
		if (!lora_rxInfo.no_lora && Lora_CmdService()) {
			// a configuration command and its ack own the LoRa radio for now
		}
		else if (Lora_RXIdle()) {
			if (radioFlags.wakeup_seq) {
				switch (wakeup_state) {
					case WAKEUP_START:
						if (lora_rxInfo.freq != RF_FREQ_TAG(dwmInfo.tag_dest)) {
							Update_Lora_Config_Anchor(&lora_rxInfo, &dwmInfo);
						}
						Lora_Operation_TX();
						wakeup_state =  WAKEUP_WAIT_FOR_TX_IDLE;
						break;
					case WAKEUP_WAIT_FOR_TX_IDLE:
						if (Lora_TXIdle()) {
							radioFlags.wakeup_seq = false;
							wakeup_state = WAKEUP_START;
						}
						break;
				}
			}
			else if(dwmInfo.tag_imposter) {
				if(Lora_TXIdle()){
					TAG_Lora_Operation_TX(errors);
				}
	  		}
			else if (Lora_TXIdle()){
				Lora_Operation_RX();
			}
		}
    /* USER CODE END WHILE */

  }
}

void SystemClock_Config(void)
{
  RCC_OscInitTypeDef RCC_OscInitStruct = {0};
  RCC_ClkInitTypeDef RCC_ClkInitStruct = {0};

  /** Configure the main internal regulator output voltage
  */
  if (HAL_PWREx_ControlVoltageScaling(PWR_REGULATOR_VOLTAGE_SCALE1) != HAL_OK)
  {
    Error_Handler();
  }

  /** Initializes the CPU, AHB and APB buses clocks
  */
  RCC_OscInitStruct.OscillatorType = RCC_OSCILLATORTYPE_HSI|RCC_OSCILLATORTYPE_LSI
                              |RCC_OSCILLATORTYPE_HSE;
  RCC_OscInitStruct.HSEState = RCC_HSE_ON;
  RCC_OscInitStruct.HSIState = RCC_HSI_ON;
  RCC_OscInitStruct.HSICalibrationValue = RCC_HSICALIBRATION_DEFAULT;
  RCC_OscInitStruct.LSIState = RCC_LSI_ON;
  RCC_OscInitStruct.LSIDiv = RCC_LSI_DIV128;
  RCC_OscInitStruct.PLL.PLLState = RCC_PLL_ON;
  RCC_OscInitStruct.PLL.PLLSource = RCC_PLLSOURCE_HSE;
  RCC_OscInitStruct.PLL.PLLMBOOST = RCC_PLLMBOOST_DIV1;
  RCC_OscInitStruct.PLL.PLLM = 1;
  RCC_OscInitStruct.PLL.PLLN = 13;
  RCC_OscInitStruct.PLL.PLLP = 8;
  RCC_OscInitStruct.PLL.PLLQ = 2;
  RCC_OscInitStruct.PLL.PLLR = 1;
  RCC_OscInitStruct.PLL.PLLRGE = RCC_PLLVCIRANGE_1;
  RCC_OscInitStruct.PLL.PLLFRACN = 0;
  if (HAL_RCC_OscConfig(&RCC_OscInitStruct) != HAL_OK)
  {
    Error_Handler();
  }

  /** Initializes the CPU, AHB and APB buses clocks
  */
  RCC_ClkInitStruct.ClockType = RCC_CLOCKTYPE_HCLK|RCC_CLOCKTYPE_SYSCLK
                              |RCC_CLOCKTYPE_PCLK1|RCC_CLOCKTYPE_PCLK2
                              |RCC_CLOCKTYPE_PCLK3;
  RCC_ClkInitStruct.SYSCLKSource = RCC_SYSCLKSOURCE_PLLCLK;
  RCC_ClkInitStruct.AHBCLKDivider = RCC_SYSCLK_DIV1;
  RCC_ClkInitStruct.APB1CLKDivider = RCC_HCLK_DIV1;
  RCC_ClkInitStruct.APB2CLKDivider = RCC_HCLK_DIV1;
  RCC_ClkInitStruct.APB3CLKDivider = RCC_HCLK_DIV1;

  if (HAL_RCC_ClockConfig(&RCC_ClkInitStruct, FLASH_LATENCY_4) != HAL_OK)
  {
    Error_Handler();
  }
}

/**
  * @brief NVIC Configuration.
  * @retval None
  */
static void MX_NVIC_Init(void)
{
  /* EXTI4_IRQn interrupt configuration */
  HAL_NVIC_SetPriority(EXTI4_IRQn, 1, 0);	// below TIM4: the watchdog preempts a radio handler stuck on BUSY
  HAL_NVIC_EnableIRQ(EXTI4_IRQn);
  /* TIM4_IRQn interrupt configuration */
  HAL_NVIC_SetPriority(TIM4_IRQn, 0, 0);
  HAL_NVIC_EnableIRQ(TIM4_IRQn);
  /* GPDMA1_Channel0_IRQn interrupt configuration */
  HAL_NVIC_SetPriority(GPDMA1_Channel0_IRQn, 5, 0);
  HAL_NVIC_EnableIRQ(GPDMA1_Channel0_IRQn);
}

/* USER CODE BEGIN 4 */
void main_init() {
	SetAnchor_cable_id();
	// per-anchor seed for the backoff random(): an unseeded sequence makes anchors that hear
	// the same foreign frame pick the same backoff and collide round after round
	srandom((unsigned)(PC_ID ^ (dwmInfo.anchor_id << 8) ^ HAL_GetTick() ^ HAL_GetUIDw0()));
	write_clear_bkup_sram();
	read_hw_version();
	Init_Leds(HW_Version);
	lora_rxInfo.new_data = LR_NO_VALID_DATA;
	lora_rxInfo.TxCounter = 0;
	lora_rxInfo.buffer_length = 0;
	lora_rxInfo.lora_msg_index = 0;
	lora_rxInfo.rssi = 0;
	lora_rxInfo.snr = 0;

	dwmInfo.tof = 0;
	dwmInfo.dw_ready = DW_NO_VALID_DATA;
	dwmInfo.tag_dest = 33;
	dwmInfo.distance = 0;
	Link_Init();	// after srandom(): the first sequence number is random

	#ifdef DEBUG_RESET_COUNTER_IN_FLASH
		reset_counter = Flash_Read_ResetCounter();
		if(reset_counter == 0xffff)
			reset_counter = Flash_Reset_ResetCounter();
		Flash_Increase_ResetCounter();
	#endif

}

void write_clear_bkup_sram(void){
	*(uint32_t*)(SRAM_BKUP_REGISTER) = SRAM_BKUP_REGISTER_CLEAR;
}

void write_bkup_sram(void){
	*(uint32_t*)(SRAM_BKUP_REGISTER) = UPDATE_FW_MODE;
}

VER_PIN RevC1[] = {
		{GPIOE, GPIO_PIN_1},	// VER1_0
		{GPIOE, GPIO_PIN_2},	// VER1_1
		{GPIOE, GPIO_PIN_3},	// VER1_2
};

VER_PIN RevC2[] = {
		{GPIOC, GPIO_PIN_6},	// VER2_0
		{GPIOC, GPIO_PIN_7},	// VER2_1
		{GPIOC, GPIO_PIN_8},	// VER2_2
};

// The stored board revision (#21) wins; without one, the strap pins decide.
void read_hw_version(void){
	HW_Strap = 0;
	HW_Strap |= READ_HW_PIN(RevC1[VER_R0],VER_R0) | READ_HW_PIN(RevC2[VER_R0],VER_R0);
	HW_Strap |= READ_HW_PIN(RevC1[VER_R1],VER_R1) | READ_HW_PIN(RevC2[VER_R1],VER_R1);
	HW_Strap |= READ_HW_PIN(RevC1[VER_R2],VER_R2) | READ_HW_PIN(RevC2[VER_R2],VER_R2);
	uint16_t stored = ((const uint16_t*)FLASH_SELF_ID_ADDRESS)[SELF_ID_SLOT_HW];
	HW_Version = (stored <= HW_REV_MAX) ? (uint8_t)stored : HW_Strap;
}
/* USER CODE END 4 */

 /* MPU Configuration */

void MPU_Config(void)
{
  MPU_Region_InitTypeDef MPU_InitStruct = {0};
  MPU_Attributes_InitTypeDef MPU_AttributesInit = {0};

  /* Disables the MPU */
  HAL_MPU_Disable();

  /** Initializes and configures the Region 0 and the memory to be protected
  */
  MPU_InitStruct.Enable = MPU_REGION_ENABLE;
  MPU_InitStruct.Number = MPU_REGION_NUMBER0;
  MPU_InitStruct.BaseAddress = 0x08200000;
  MPU_InitStruct.LimitAddress = 0x083FDFFF;
  MPU_InitStruct.AttributesIndex = MPU_ATTRIBUTES_NUMBER0;
  MPU_InitStruct.AccessPermission = MPU_REGION_ALL_RO;
  MPU_InitStruct.DisableExec = MPU_INSTRUCTION_ACCESS_ENABLE;
  MPU_InitStruct.IsShareable = MPU_ACCESS_NOT_SHAREABLE;

  HAL_MPU_ConfigRegion(&MPU_InitStruct);

  /** Initializes and configures the Region 1 and the memory to be protected
  */
  MPU_InitStruct.Number = MPU_REGION_NUMBER1;
  MPU_InitStruct.BaseAddress = 0x20000000;
  MPU_InitStruct.LimitAddress = 0x2026FFFF;
  MPU_InitStruct.AttributesIndex = MPU_ATTRIBUTES_NUMBER1;
  MPU_InitStruct.AccessPermission = MPU_REGION_PRIV_RW;

  HAL_MPU_ConfigRegion(&MPU_InitStruct);

  /** Initializes and configures the Attribute 0 and the memory to be protected
  */
  MPU_AttributesInit.Number = MPU_ATTRIBUTES_NUMBER0;
  MPU_AttributesInit.Attributes = INNER_OUTER(MPU_NOT_CACHEABLE);

  HAL_MPU_ConfigMemoryAttributes(&MPU_AttributesInit);

  /** Initializes and configures the Attribute 1 and the memory to be protected
  */
  MPU_AttributesInit.Number = MPU_ATTRIBUTES_NUMBER1;
  MPU_AttributesInit.Attributes = INNER_OUTER(MPU_WRITE_BACK|MPU_TRANSIENT
                              |MPU_RW_ALLOCATE);

  HAL_MPU_ConfigMemoryAttributes(&MPU_AttributesInit);
  /* Enables the MPU */
  HAL_MPU_Enable(MPU_PRIVILEGED_DEFAULT);

}

void Error_Handler(void)
{
  /* USER CODE BEGIN Error_Handler_Debug */
	/* User can add his own implementation to report the HAL error return state */
	__disable_irq();
	HAL_NVIC_SystemReset();	// a hang with interrupts off would bypass the TIM4 watchdog
  /* USER CODE END Error_Handler_Debug */
}
